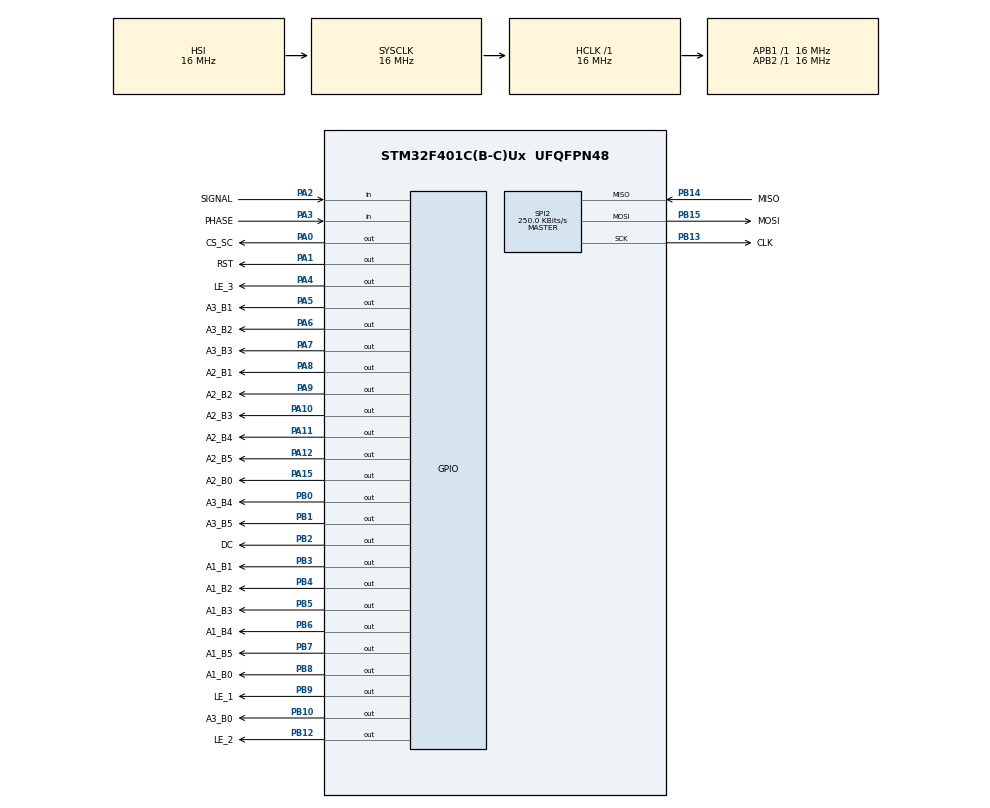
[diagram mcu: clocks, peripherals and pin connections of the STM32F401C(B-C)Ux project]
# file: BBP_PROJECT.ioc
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Mcu.Family=STM32F4
Mcu.Name=STM32F401C(B-C)Ux
Mcu.Package=UFQFPN48
NVIC.PriorityGroup=NVIC_PRIORITYGROUP_4
NVIC.SPI2_IRQn=true\:0\:0\:false\:false\:true\:true\:true\:true
NVIC.TIM2_IRQn=true\:0\:0\:false\:false\:true\:true\:true\:true
PA0-WKUP.GPIO_Label=CS_SC
PA0-WKUP.Signal=GPIO_Output
PA1.GPIO_Label=RST
PA1.Signal=GPIO_Output
PA10.GPIO_Label=A2_B3
PA10.Signal=GPIO_Output
PA11.GPIO_Label=A2_B4
PA11.Signal=GPIO_Output
PA12.GPIO_Label=A2_B5
PA12.Signal=GPIO_Output
PA13.Mode=Serial_Wire
PA13.Signal=SYS_JTMS-SWDIO
PA14.Mode=Serial_Wire
PA14.Signal=SYS_JTCK-SWCLK
PA15.GPIO_Label=A2_B0
PA15.Signal=GPIO_Output
PA2.GPIO_Label=SIGNAL
PA2.Signal=GPIO_Input
PA3.GPIO_Label=PHASE
PA3.Signal=GPIO_Input
PA4.GPIO_Label=LE_3
PA4.Signal=GPIO_Output
PA5.GPIO_Label=A3_B1
PA5.Signal=GPIO_Output
PA6.GPIO_Label=A3_B2
PA6.Signal=GPIO_Output
PA7.GPIO_Label=A3_B3
PA7.Signal=GPIO_Output
PA8.GPIO_Label=A2_B1
PA8.Signal=GPIO_Output
PA9.GPIO_Label=A2_B2
PA9.Signal=GPIO_Output
PB0.GPIO_Label=A3_B4
PB0.Signal=GPIO_Output
PB1.GPIO_Label=A3_B5
PB1.Signal=GPIO_Output
PB10.GPIO_Label=A3_B0
PB10.Signal=GPIO_Output
PB12.GPIO_Label=LE_2
PB12.Signal=GPIO_Output
PB13.GPIO_Label=CLK
PB13.Mode=Full_Duplex_Master
PB13.Signal=SPI2_SCK
PB14.GPIO_Label=MISO
PB14.Mode=Full_Duplex_Master
PB14.Signal=SPI2_MISO
PB15.GPIO_Label=MOSI
PB15.Mode=Full_Duplex_Master
PB15.Signal=SPI2_MOSI
PB2.GPIO_Label=DC
PB2.Signal=GPIO_Output
PB3.GPIO_Label=A1_B1
PB3.Signal=GPIO_Output
PB4.GPIO_Label=A1_B2
PB4.Signal=GPIO_Output
PB5.GPIO_Label=A1_B3
PB5.Signal=GPIO_Output
PB6.GPIO_Label=A1_B4
PB6.Signal=GPIO_Output
PB7.GPIO_Label=A1_B5
PB7.Signal=GPIO_Output
PB8.GPIO_Label=A1_B0
PB8.Signal=GPIO_Output
PB9.GPIO_Label=LE_1
PB9.Signal=GPIO_Output
ProjectManager.HeapSize=0x200
ProjectManager.StackSize=0x400
ProjectManager.TargetToolchain=STM32CubeIDE
RCC.AHBFreq_Value=16000000
RCC.APB1Freq_Value=16000000
RCC.APB2Freq_Value=16000000
RCC.CortexFreq_Value=16000000
RCC.HSE_VALUE=25000000
RCC.HSI_VALUE=16000000
RCC.LSE_VALUE=32768
RCC.SYSCLKFreq_VALUE=16000000
RCC.VCOOutputFreq_Value=192000000
SPI2.BaudRatePrescaler=SPI_BAUDRATEPRESCALER_64
SPI2.CalculateBaudRate=250.0 KBits/s
SPI2.Direction=SPI_DIRECTION_2LINES
SPI2.Mode=SPI_MODE_MASTER
SPI2.VirtualType=VM_MASTER
VP_TIM2_VS_ClockSourceINT.Mode=Internal
board=custom

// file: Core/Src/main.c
#include "main.h"
#include "ssd1331.h"

SPI_HandleTypeDef hspi2;
TIM_HandleTypeDef htim2;

/* USER CODE BEGIN PV */
volatile int32_t  encoder_position      = 0;
static   int32_t  last_encoder_position = 0;
volatile uint8_t  flag_update_display   = 0;
volatile uint8_t  flag_update_attn      = 0;
/* USER CODE END PV */

void SystemClock_Config(void);
static void MX_GPIO_Init(void);
static void MX_SPI2_Init(void);
static void MX_TIM2_Init(void);

/* USER CODE BEGIN PFP */

static const uint8_t attenuationTable[32] = {
    0x00,0x02,0x04,0x06,0x08,0x0A,0x0C,0x0E,
    0x10,0x12,0x14,0x16,0x18,0x1A,0x1C,0x1E,
    0x20,0x22,0x24,0x26,0x28,0x2A,0x2C,0x2E,
    0x30,0x32,0x34,0x36,0x38,0x3A,0x3C,0x3E
};
// Read rotary encoder
static void Read_Encoder(void);

static void UpdateAllAttenuators(int32_t pos);
// Low-level write to one PE4312
static void Att_Write(uint8_t word6, uint16_t LE_Pin, GPIO_TypeDef *LE_Port);
/* USER CODE END PFP */

/* USER CODE BEGIN 0 */

static void Read_Encoder(void) {
    static uint8_t last_AB = 0;
    uint8_t A = HAL_GPIO_ReadPin(GPIOA, GPIO_PIN_2);
    uint8_t B = HAL_GPIO_ReadPin(GPIOA, GPIO_PIN_3);
    uint8_t cur = (A<<1)|B;
    if(cur != last_AB) {
        HAL_Delay(5);
        A = HAL_GPIO_ReadPin(GPIOA, GPIO_PIN_2);
        B = HAL_GPIO_ReadPin(GPIOA, GPIO_PIN_3);
        cur = (A<<1)|B;
        if ((last_AB==0&&cur==1)||(last_AB==1&&cur==3)||(last_AB==3&&cur==2)||(last_AB==2&&cur==0))
            encoder_position++;
        else
            encoder_position--;

        if (encoder_position < 0) encoder_position = 0;
        if (encoder_position > 93) encoder_position = 93;

        last_AB = cur;
    }
}

static void Att_Write(uint8_t word6, uint16_t LE_Pin, GPIO_TypeDef *LE_Port) {
    HAL_GPIO_WritePin(LE_Port, LE_Pin, GPIO_PIN_RESET);
    HAL_SPI_Transmit(&hspi2, &word6, 1, HAL_MAX_DELAY);
    HAL_GPIO_WritePin(LE_Port, LE_Pin, GPIO_PIN_SET);
    __NOP(); __NOP();
    HAL_GPIO_WritePin(LE_Port, LE_Pin, GPIO_PIN_RESET);
}

static void UpdateAllAttenuators(int32_t pos) {
    // Užtikrinam ribas
    if (pos < 0) pos = 0;
    if (pos > 93) pos = 93; // Max 31 dB x 3 atenuatoriai

    // Paskirstom tolygiai po 3 atenuatorius
    int32_t base = pos / 3;
    int32_t rem  = pos % 3;

    int32_t idx0 = base + (rem > 0 ? 1 : 0);
    int32_t idx1 = base + (rem > 1 ? 1 : 0);
    int32_t idx2 = base;

    // Apsaugom nuo viršijimo
    if (idx0 > 31) idx0 = 31;
    if (idx1 > 31) idx1 = 31;
    if (idx2 > 31) idx2 = 31;

    uint8_t w0 = attenuationTable[idx0];
    uint8_t w1 = attenuationTable[idx1];
    uint8_t w2 = attenuationTable[idx2];

    // Debug
    printf("dB=%ld → idx0=%ld, idx1=%ld, idx2=%ld → w0=0x%02X, w1=0x%02X, w2=0x%02X\n",
           (long)pos, idx0, idx1, idx2, w0, w1, w2);

    // ---- Atenuatorius #1 ----
    HAL_GPIO_WritePin(LE_1_GPIO_Port, LE_1_Pin, GPIO_PIN_RESET);
    HAL_GPIO_WritePin(LE_2_GPIO_Port, LE_2_Pin, GPIO_PIN_RESET);
    HAL_GPIO_WritePin(LE_3_GPIO_Port, LE_3_Pin, GPIO_PIN_RESET);

    HAL_SPI_Transmit(&hspi2, &w0, 1, HAL_MAX_DELAY);
    HAL_GPIO_WritePin(LE_1_GPIO_Port, LE_1_Pin, GPIO_PIN_SET);
    __NOP(); __NOP();
    HAL_GPIO_WritePin(LE_1_GPIO_Port, LE_1_Pin, GPIO_PIN_RESET);

    // ---- Atenuatorius #2 ----
    HAL_SPI_Transmit(&hspi2, &w1, 1, HAL_MAX_DELAY);
    HAL_GPIO_WritePin(LE_2_GPIO_Port, LE_2_Pin, GPIO_PIN_SET);
    __NOP(); __NOP();
    HAL_GPIO_WritePin(LE_2_GPIO_Port, LE_2_Pin, GPIO_PIN_RESET);

    // ---- Atenuatorius #3 ----
    HAL_SPI_Transmit(&hspi2, &w2, 1, HAL_MAX_DELAY);
    HAL_GPIO_WritePin(LE_3_GPIO_Port, LE_3_Pin, GPIO_PIN_SET);
    __NOP(); __NOP();
    HAL_GPIO_WritePin(LE_3_GPIO_Port, LE_3_Pin, GPIO_PIN_RESET);
}

/* USER CODE END 0 */

/* USER CODE END 0 */

int main(void)
{

  /* MCU Configuration--------------------------------------------------------*/

  /* Reset of all peripherals, Initializes the Flash interface and the Systick. */
  HAL_Init();

  /* Configure the system clock */
  SystemClock_Config();

  /* Initialize all configured peripherals */
  MX_GPIO_Init();
  MX_SPI2_Init();
  MX_TIM2_Init();
  /* USER CODE BEGIN 2 */

   SSD1331_Init();
   HAL_TIM_Base_Start_IT(&htim2);
   SSD1331_DrawString(5, 5, "PASIRIKTAS ", 0xF60000);
   SSD1331_DrawString(5, 20, "SLOPINIMAS: ", 0xF60000);

   HAL_GPIO_WritePin(A1_B0_GPIO_Port, A1_B0_Pin, GPIO_PIN_RESET);
   HAL_GPIO_WritePin(A1_B1_GPIO_Port, A1_B1_Pin, GPIO_PIN_RESET);
   HAL_GPIO_WritePin(A1_B2_GPIO_Port, A1_B2_Pin, GPIO_PIN_RESET);
   HAL_GPIO_WritePin(A1_B3_GPIO_Port, A1_B3_Pin, GPIO_PIN_RESET);
   HAL_GPIO_WritePin(A1_B4_GPIO_Port, A1_B4_Pin, GPIO_PIN_RESET);
   HAL_GPIO_WritePin(A1_B5_GPIO_Port, A1_B5_Pin, GPIO_PIN_RESET);

   HAL_GPIO_WritePin(A2_B0_GPIO_Port, A2_B0_Pin, GPIO_PIN_RESET);
   HAL_GPIO_WritePin(A2_B1_GPIO_Port, A2_B1_Pin, GPIO_PIN_RESET);
   HAL_GPIO_WritePin(A2_B2_GPIO_Port, A2_B2_Pin, GPIO_PIN_RESET);
   HAL_GPIO_WritePin(A2_B3_GPIO_Port, A2_B3_Pin, GPIO_PIN_RESET);
   HAL_GPIO_WritePin(A2_B4_GPIO_Port, A2_B4_Pin, GPIO_PIN_RESET);
   HAL_GPIO_WritePin(A2_B5_GPIO_Port, A2_B5_Pin, GPIO_PIN_RESET);

   HAL_GPIO_WritePin(A3_B0_GPIO_Port, A3_B0_Pin, GPIO_PIN_RESET);
   HAL_GPIO_WritePin(A3_B1_GPIO_Port, A3_B1_Pin, GPIO_PIN_RESET);
   HAL_GPIO_WritePin(A3_B2_GPIO_Port, A3_B2_Pin, GPIO_PIN_RESET);
   HAL_GPIO_WritePin(A3_B3_GPIO_Port, A3_B3_Pin, GPIO_PIN_RESET);
   HAL_GPIO_WritePin(A3_B4_GPIO_Port, A3_B4_Pin, GPIO_PIN_RESET);
   HAL_GPIO_WritePin(A3_B5_GPIO_Port, A3_B5_Pin, GPIO_PIN_RESET);
  /* USER CODE END 2 */

  /* Infinite loop */
  /* USER CODE BEGIN WHILE */
  while (1)
  {
	  Read_Encoder();

	          if (encoder_position != last_encoder_position)
	          {

	              if (flag_update_attn) {
	                  UpdateAllAttenuators(encoder_position);
	                  flag_update_attn = 0;
	              }

	              if (flag_update_display) {
	            	  char buf_old[16], buf_new[16];

	            	  sprintf(buf_old, "%ld", last_encoder_position);
	            	   SSD1331_DrawString(40, 40, buf_old, 0x000000);

	            	   sprintf(buf_new, "%ld", encoder_position);
	            	  SSD1331_DrawString(40, 40, buf_new, 0xF60000);
	                  flag_update_display = 0;
	                  last_encoder_position = encoder_position;
	              }
	          }
//	        HAL_Delay(50);
    /* USER CODE END WHILE */

  }
}
void HAL_TIM_PeriodElapsedCallback(TIM_HandleTypeDef *htim) {
    if(htim->Instance==TIM2) {
        static uint8_t tick=0;
        tick++;
        if((tick%2)==0) flag_update_display = 1;
        if((tick%3)==0) flag_update_attn    = 1;
    }
}
void SystemClock_Config(void)
{
  RCC_OscInitTypeDef RCC_OscInitStruct = {0};
  RCC_ClkInitTypeDef RCC_ClkInitStruct = {0};

  /** Configure the main internal regulator output voltage
  */
  __HAL_RCC_PWR_CLK_ENABLE();
  __HAL_PWR_VOLTAGESCALING_CONFIG(PWR_REGULATOR_VOLTAGE_SCALE2);

  /** Initializes the RCC Oscillators according to the specified parameters
  * in the RCC_OscInitTypeDef structure.
  */
  RCC_OscInitStruct.OscillatorType = RCC_OSCILLATORTYPE_HSI;
  RCC_OscInitStruct.HSIState = RCC_HSI_ON;
  RCC_OscInitStruct.HSICalibrationValue = RCC_HSICALIBRATION_DEFAULT;
  RCC_OscInitStruct.PLL.PLLState = RCC_PLL_NONE;
  if (HAL_RCC_OscConfig(&RCC_OscInitStruct) != HAL_OK)
  {
    Error_Handler();
  }

  /** Initializes the CPU, AHB and APB buses clocks
  */
  RCC_ClkInitStruct.ClockType = RCC_CLOCKTYPE_HCLK|RCC_CLOCKTYPE_SYSCLK
                              |RCC_CLOCKTYPE_PCLK1|RCC_CLOCKTYPE_PCLK2;
  RCC_ClkInitStruct.SYSCLKSource = RCC_SYSCLKSOURCE_HSI;
  RCC_ClkInitStruct.AHBCLKDivider = RCC_SYSCLK_DIV1;
  RCC_ClkInitStruct.APB1CLKDivider = RCC_HCLK_DIV1;
  RCC_ClkInitStruct.APB2CLKDivider = RCC_HCLK_DIV1;

  if (HAL_RCC_ClockConfig(&RCC_ClkInitStruct, FLASH_LATENCY_0) != HAL_OK)
  {
    Error_Handler();
  }
}

static void MX_SPI2_Init(void)
{

  /* SPI2 parameter configuration*/
  hspi2.Instance = SPI2;
  hspi2.Init.Mode = SPI_MODE_MASTER;
  hspi2.Init.Direction = SPI_DIRECTION_2LINES;
  hspi2.Init.DataSize = SPI_DATASIZE_8BIT;
  hspi2.Init.CLKPolarity = SPI_POLARITY_LOW;
  hspi2.Init.CLKPhase = SPI_PHASE_1EDGE;
  hspi2.Init.NSS = SPI_NSS_SOFT;
  hspi2.Init.BaudRatePrescaler = SPI_BAUDRATEPRESCALER_64;
  hspi2.Init.FirstBit = SPI_FIRSTBIT_MSB;
  hspi2.Init.TIMode = SPI_TIMODE_DISABLE;
  hspi2.Init.CRCCalculation = SPI_CRCCALCULATION_DISABLE;
  hspi2.Init.CRCPolynomial = 10;
  if (HAL_SPI_Init(&hspi2) != HAL_OK)
  {
    Error_Handler();
  }

}

static void MX_TIM2_Init(void)
{

  TIM_ClockConfigTypeDef sClockSourceConfig = {0};
  TIM_MasterConfigTypeDef sMasterConfig = {0};

  htim2.Instance = TIM2;
  htim2.Init.Prescaler = 8399;
  htim2.Init.CounterMode = TIM_COUNTERMODE_UP;
  htim2.Init.Period = 99;
  htim2.Init.ClockDivision = TIM_CLOCKDIVISION_DIV1;
  htim2.Init.AutoReloadPreload = TIM_AUTORELOAD_PRELOAD_DISABLE;
  if (HAL_TIM_Base_Init(&htim2) != HAL_OK)
  {
    Error_Handler();
  }
  sClockSourceConfig.ClockSource = TIM_CLOCKSOURCE_INTERNAL;
  if (HAL_TIM_ConfigClockSource(&htim2, &sClockSourceConfig) != HAL_OK)
  {
    Error_Handler();
  }
  sMasterConfig.MasterOutputTrigger = TIM_TRGO_RESET;
  sMasterConfig.MasterSlaveMode = TIM_MASTERSLAVEMODE_DISABLE;
  if (HAL_TIMEx_MasterConfigSynchronization(&htim2, &sMasterConfig) != HAL_OK)
  {
    Error_Handler();
  }

}

static void MX_GPIO_Init(void)
{
  GPIO_InitTypeDef GPIO_InitStruct = {0};

  /* GPIO Ports Clock Enable */
  __HAL_RCC_GPIOA_CLK_ENABLE();
  __HAL_RCC_GPIOB_CLK_ENABLE();

  /*Configure GPIO pin Output Level */
  HAL_GPIO_WritePin(GPIOA, CS_SC_Pin|RST_Pin|LE_3_Pin, GPIO_PIN_RESET);

  /*Configure GPIO pin Output Level */
  HAL_GPIO_WritePin(GPIOB, DC_Pin|LE_2_Pin|LE_1_Pin, GPIO_PIN_RESET);

  /*Configure GPIO pins : CS_SC_Pin RST_Pin LE_3_Pin */
  GPIO_InitStruct.Pin = CS_SC_Pin|RST_Pin|LE_3_Pin;
  GPIO_InitStruct.Mode = GPIO_MODE_OUTPUT_PP;
  GPIO_InitStruct.Pull = GPIO_NOPULL;
  GPIO_InitStruct.Speed = GPIO_SPEED_FREQ_LOW;
  HAL_GPIO_Init(GPIOA, &GPIO_InitStruct);

  /*Configure GPIO pins : SIGNAL_Pin PHASE_Pin A3_B1_Pin A3_B2_Pin
                           A3_B3_Pin A2_B1_Pin A2_B2_Pin A2_B3_Pin
                           A2_B4_Pin A2_B5_Pin A2_B0_Pin */
  GPIO_InitStruct.Pin = SIGNAL_Pin|PHASE_Pin|A3_B1_Pin|A3_B2_Pin
                          |A3_B3_Pin|A2_B1_Pin|A2_B2_Pin|A2_B3_Pin
                          |A2_B4_Pin|A2_B5_Pin|A2_B0_Pin;
  GPIO_InitStruct.Mode = GPIO_MODE_INPUT;
  GPIO_InitStruct.Pull = GPIO_NOPULL;
  HAL_GPIO_Init(GPIOA, &GPIO_InitStruct);

  /*Configure GPIO pins : A3_B4_Pin A3_B5_Pin A3_B0_Pin A1_B1_Pin
                           A1_B2_Pin A1_B3_Pin A1_B4_Pin A1_B5_Pin
                           A1_B0_Pin */
  GPIO_InitStruct.Pin = A3_B4_Pin|A3_B5_Pin|A3_B0_Pin|A1_B1_Pin
                          |A1_B2_Pin|A1_B3_Pin|A1_B4_Pin|A1_B5_Pin
                          |A1_B0_Pin;
  GPIO_InitStruct.Mode = GPIO_MODE_INPUT;
  GPIO_InitStruct.Pull = GPIO_NOPULL;
  HAL_GPIO_Init(GPIOB, &GPIO_InitStruct);

  /*Configure GPIO pins : DC_Pin LE_2_Pin LE_1_Pin */
  GPIO_InitStruct.Pin = DC_Pin|LE_2_Pin|LE_1_Pin;
  GPIO_InitStruct.Mode = GPIO_MODE_OUTPUT_PP;
  GPIO_InitStruct.Pull = GPIO_NOPULL;
  GPIO_InitStruct.Speed = GPIO_SPEED_FREQ_LOW;
  HAL_GPIO_Init(GPIOB, &GPIO_InitStruct);

}

void Error_Handler(void)
{
  __disable_irq();
  while (1)
  {
  }
}
